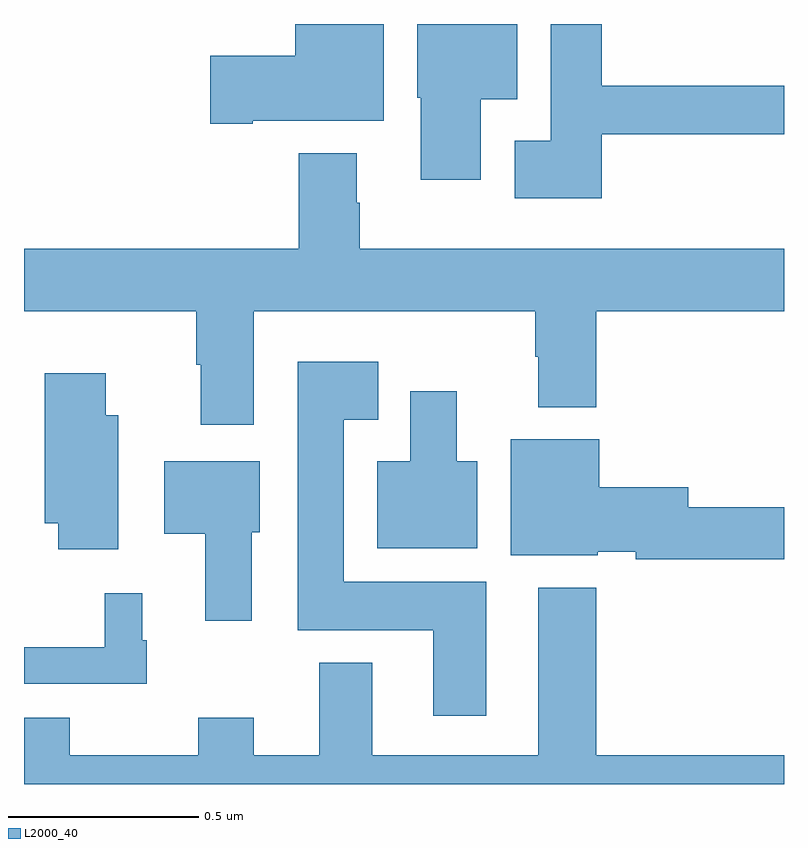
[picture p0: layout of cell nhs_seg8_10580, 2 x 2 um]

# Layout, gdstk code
import gdstk
lib = gdstk.Library(unit=1e-6, precision=1e-09)
def P(c, l, *ps):  # polygons
    for p in ps: c.add(gdstk.Polygon(p, *l))
L2000_40 = (2000, 40)

nhs_seg8_10580 = lib.new_cell('nhs_seg8_10580')
P(nhs_seg8_10580, L2000_40, [(252.521,1139.61),(253,1139.61),(253,1139.738),(252.521,1139.738),(252.521,1139.9),(252.386,1139.9),(252.386,1139.593),(252.291,1139.593),(252.291,1139.441),(252.521,1139.441)],
  [(251.602,1139.645),(251.947,1139.645),(251.947,1139.9),(251.714,1139.9),(251.714,1139.816),(251.49,1139.816),(251.49,1139.638),(251.602,1139.638)],
  [(252.202,1139.702),(252.298,1139.702),(252.298,1139.9),(252.035,1139.9),(252.035,1139.706),(252.044,1139.706),(252.044,1139.49),(252.202,1139.49)],
  [(251.605,1139.144),(252.346,1139.144),(252.346,1139.024),(252.353,1139.024),(252.353,1138.892),(252.506,1138.892),(252.506,1139.144),(253,1139.144),(253,1139.308),(251.883,1139.308),(251.883,1139.429),(251.875,1139.429),(251.875,1139.56),(251.723,1139.56),(251.723,1139.308),(251,1139.308),(251,1139.144),(251.453,1139.144),(251.453,1139.003),(251.465,1139.003),(251.465,1138.845),(251.605,1138.845)],
  [(252.217,1138.432),(251.842,1138.432),(251.842,1138.859),(251.932,1138.859),(251.932,1139.011),(251.72,1139.011),(251.72,1138.304),(252.077,1138.304),(252.077,1138.08),(252.217,1138.08)],
  [(251.248,1138.87),(251.215,1138.87),(251.215,1138.981),(251.054,1138.981),(251.054,1138.586),(251.09,1138.586),(251.09,1138.518),(251.248,1138.518)],
  [(252.193,1138.75),(252.139,1138.75),(252.139,1138.933),(252.017,1138.933),(252.017,1138.75),(251.93,1138.75),(251.93,1138.52),(252.193,1138.52)],
  [(253,1138.628),(252.748,1138.628),(252.748,1138.681),(252.514,1138.681),(252.514,1138.807),(252.281,1138.807),(252.281,1138.502),(252.51,1138.502),(252.51,1138.511),(252.61,1138.511),(252.61,1138.492),(253,1138.492)],
  [(251.599,1138.563),(251.62,1138.563),(251.62,1138.75),(251.369,1138.75),(251.369,1138.559),(251.477,1138.559),(251.477,1138.329),(251.599,1138.329)],
  [(253,1137.976),(252.506,1137.976),(252.506,1138.417),(252.353,1138.417),(252.353,1137.976),(251.917,1137.976),(251.917,1138.219),(251.777,1138.219),(251.777,1137.976),(251.605,1137.976),(251.605,1138.075),(251.458,1138.075),(251.458,1137.976),(251.121,1137.976),(251.121,1138.075),(251,1138.075),(251,1137.9),(253,1137.9)],
  [(251.323,1138.278),(251.311,1138.278),(251.311,1138.402),(251.212,1138.402),(251.212,1138.26),(251,1138.26),(251,1138.164),(251.323,1138.164)])

lib.write_gds('nhs_seg8_10580.gds')
